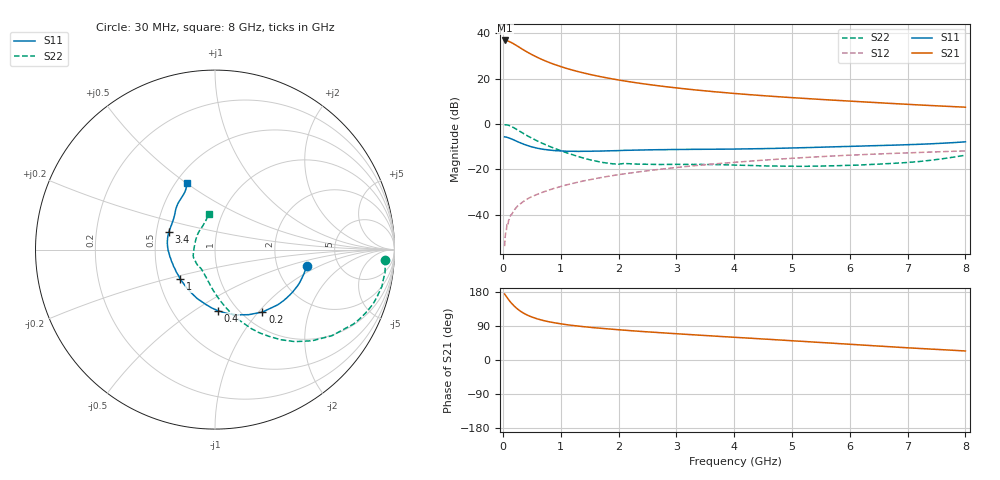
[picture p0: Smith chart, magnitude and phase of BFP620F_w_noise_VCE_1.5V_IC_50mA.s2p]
! Infineon Technologies  Discrete & RF Semiconductors
! BFP620F
! VCE =  1.5 V,  IC =  50 mA
! Common Emitter S-Parameters:  Dec 2014
# GHz  S  MA  R  50
!  f  S11  S21  S12  S22
! GHz  MAG  ANG  MAG  ANG  MAG  ANG  MAG  ANG
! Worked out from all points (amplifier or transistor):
!   95 points, 30 MHz to 8 GHz, reference 50 ohm
!   highest |S21| = 36.9 dB at 40 MHz (marker M1)
!   |S21| within 3 dB of that: start of sweep to 283.5 MHz
!   unconditionally stable (mu >= 1): 1.93 GHz to end of sweep
!   at 300 MHz: K = 0.49, MSG = 34.5 dB, |S12| = -35.3 dB
!   at 3.3 GHz: K = 1.03, MAG = 15.7 dB, |S12| = -18.5 dB
!   at 8 GHz: K = 1.05, MAG = 8.3 dB, |S12| = -11.9 dB
!   lowest NFmin = 1.55 dB at 450 MHz
!   S11 on the Smith chart (normalised r, x): 30 MHz: 2.96, -0.72; 200 MHz: 1.22, -1.05; 400 MHz: 0.82, -0.63; 1 GHz: 0.64, -0.23; 3.4 GHz: 0.58, +0.13; 8 GHz: 0.57, +0.50
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0.03  0.5192 -9.9  69.63 174.3  0.002 89.7  0.9472 -3.4
0.04  0.516 -12.4  69.63 172.0  0.0032 93.6  0.9524 -5.7
0.08  0.5032 -23.4  68.24 163.3  0.0057 84.6  0.9454 -14.5
0.12  0.481 -34.3  64.93 155.1  0.0087 81.6  0.9106 -22.8
0.15  0.4653 -41.5  62.29 149.8  0.01 78.3  0.8755 -28.3
0.2  0.4368 -52.8  57.26 141.8  0.0127 75.0  0.8088 -36.4
0.25  0.4084 -62.6  52.4 134.9  0.0152 73.6  0.7422 -43.2
0.3  0.3834 -71.5  47.84 129.2  0.0171 70.1  0.6783 -49.1
0.35  0.3612 -79.7  43.64 124.3  0.0192 68.9  0.6212 -53.9
0.4  0.3413 -87.0  40.02 120.1  0.0211 68.9  0.5693 -58.1
0.5  0.3108 -99.1  33.96 113.5  0.0248 67.4  0.4858 -65.2
0.6  0.2902 -110.0  29.3 108.3  0.0281 67.8  0.4178 -70.9
0.8  0.2654 -126.6  22.74 100.8  0.0348 67.9  0.3221 -80.1
1  0.2539 -139.5  18.47 95.5  0.0415 67.9  0.2569 -87.9
1.4  0.249 -158.1  13.32 87.9  0.0553 67.2  0.1757 -103.4
2  0.2578 -176.4  9.343 79.9  0.0759 65.3  0.1294 -129.5
2.7  0.2699 169.6  6.933 72.3  0.099 61.5  0.1272 -148.8
3.4  0.2749 158.6  5.524 65.5  0.1224 57.3  0.1278 -160.1
4.1  0.2798 149.3  4.601 59.1  0.1452 52.9  0.1225 -169.8
5.4  0.3038 137.0  3.537 47.1  0.1865 43.7  0.1172 162.7
6.7  0.3383 125.1  2.841 35.0  0.2222 33.7  0.1337 132.1
8  0.4024 112.8  2.341 23.8  0.2536 24.3  0.2035 99.5
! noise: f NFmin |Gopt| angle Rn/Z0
0.45  1.55  0.23  -171  0.17
0.9  1.58  0.23  -171  0.15
1.5  1.6  0.27  -155  0.1
1.8  1.61  0.27  -153  0.1
1.9  1.62  0.27  -151  0.1
2.4  1.63  0.27  214  0.11
3.5  1.71  0.28  221  0.13
5.5  1.82  0.32  252  0.22
6  1.84  0.32  261  0.28
